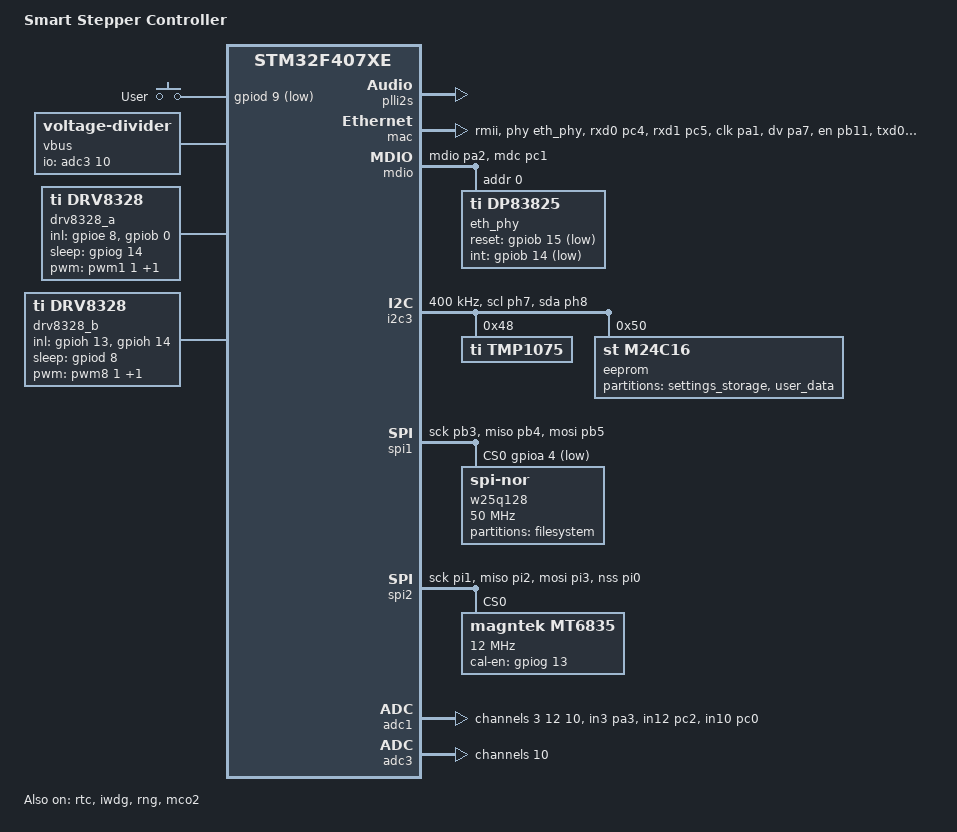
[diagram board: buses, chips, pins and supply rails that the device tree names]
/*
 * Copyright (c) 2025 Rubus Technologies Inc.
 * SPDX-License-Identifier: Apache-2.0
 */

/dts-v1/;
#include <st/f4/stm32f407Xe.dtsi>
#include <st/f4/stm32f407i(e-g)tx-pinctrl.dtsi>
#include <zephyr/dt-bindings/input/input-event-codes.h>
#include <zephyr/dt-bindings/timer/stm32-timer.h>
#include <zephyr/dt-bindings/pwm/pwm.h>
#include <dt-bindings/pwm/stm32-mcpwm.h>

/ {
	model = "Smart Stepper Controller";
	compatible = "rubus,smartstepper";

	chosen {
		zephyr,sram = &sram0;
		zephyr,flash = &flash0;
		zephyr,ccm = &ccm0;
		// zephyr,dtcm = &ccm0;
		zephyr,canbus = &can1;
		zephyr,code-partition = &slot0_partition;
		zephyr,settings-partition = &settings_partition;
	};

	gpio_keys {
		compatible = "gpio-keys";
		user_button: button {
			label = "User";
			gpios = <&gpiod 9 (GPIO_ACTIVE_LOW | GPIO_PULL_UP)>;
			zephyr,code = <INPUT_KEY_0>;
		};
	};

	aliases {
		watchdog0 = &iwdg;
		sw0 = &user_button;
		encoder0 = &mt6835;
		die-temp0 = &die_temp;
		volt-sensor0 = &vref;
		gate-driver-a = &drv8328_a;
		gate-driver-b = &drv8328_b;		
	};

	vbus {
		compatible = "voltage-divider";
		io-channels = <&adc3 10>;
		output-ohms = <10000>;
		full-ohms = <(191000 + 10000)>;
	};

	drv8328_a: drv8328_a {
		compatible = "ti,drv8328";
		status = "okay";
		
		mode = "3x";
		
		pwms = <&pwm1 1 (PWM_POLARITY_NORMAL | STM32_PWM_OC_MODE_PWM1)>,
		       <&pwm1 2 (PWM_POLARITY_NORMAL | STM32_PWM_OC_MODE_PWM1)>;
		
		inl-gpios = <&gpioe 8 GPIO_ACTIVE_HIGH>,
		            <&gpiob 0 GPIO_ACTIVE_HIGH>;
		
		sleep-gpios = <&gpiog 14 GPIO_ACTIVE_HIGH>;
	};
	
	drv8328_b: drv8328_b {
		compatible = "ti,drv8328";
		status = "okay";
		
		mode = "3x";
		
		pwms = <&pwm8 1 (PWM_POLARITY_NORMAL | STM32_PWM_OC_MODE_PWM1)>,
		       <&pwm8 2 (PWM_POLARITY_NORMAL | STM32_PWM_OC_MODE_PWM1)>;
		
		inl-gpios = <&gpioh 13 GPIO_ACTIVE_HIGH>,
		            <&gpioh 14 GPIO_ACTIVE_HIGH>;
		
		sleep-gpios = <&gpiod 8 GPIO_ACTIVE_HIGH>;
	};
};

&clk_lsi {
	status = "okay";
};

&clk_hsi {
	status = "okay";
};

&clk_hse {
	clock-frequency = <DT_FREQ_M(25)>;
	hse-bypass;
	status = "disabled";
};

// &pll {
// 	div-m = <25>;
// 	mul-n = <336>;
// 	div-p = <2>;
// 	div-q = <7>;
// 	clocks = <&clk_hse>;
// 	status = "okay";
// };

&pll {
	div-m = <16>;
	mul-n = <336>;
	div-p = <2>;
	div-q = <7>;
	clocks = <&clk_hsi>;
	status = "okay";
};

&plli2s {
	mul-n = <100>;
	div-r = <2>;
	status = "okay";
};

&rcc {
	clocks = <&pll>;
	clock-frequency = <DT_FREQ_M(168)>;
	ahb-prescaler = <1>;
	apb1-prescaler = <4>;
	apb2-prescaler = <2>;
};

&rtc {
	clocks = <&rcc STM32_CLOCK(APB1, 28)>,
		 <&rcc STM32_SRC_LSI RTC_SEL(2)>;
	status = "okay";
};

&iwdg {
	status = "okay";
};

&rng {
	status = "okay";
};

/* See reference manual (RM0385):
 *   0b10: HSE oscillator clock selected
 */
 #define MCO2_SEL_HSE 2

&mco2 {
	clocks = <&rcc STM32_SRC_HSE MCO2_SEL(MCO2_SEL_HSE)>;
	prescaler = <MCO2_PRE(MCO_PRE_DIV_1)>;
	pinctrl-0 = <&rcc_mco_2_pc9>;
	pinctrl-names = "default";
	status = "okay";
};

&dma1 {
	status = "okay";
};

&dma2 {
	status = "okay";
};

&mac {
	status = "okay";
	pinctrl-0 = <&eth_rxd0_pc4
		     &eth_rxd1_pc5
		     &eth_ref_clk_pa1
		     &eth_crs_dv_pa7
		     &eth_tx_en_pb11
		     &eth_txd0_pb12
		     &eth_txd1_pb13>;
	pinctrl-names = "default";
	phy-connection-type = "rmii";
	phy-handle = <&eth_phy>;
};

&mdio {
	status = "okay";
	pinctrl-0 = <&eth_mdio_pa2 &eth_mdc_pc1>;
	pinctrl-names = "default";

	eth_phy: ethernet-phy@0 {
		status = "okay";
		compatible = "ti,dp83825";
		reg = <0>;
		reset-gpios = <&gpiob 15 GPIO_ACTIVE_LOW>;
		int-gpios = <&gpiob 14 GPIO_ACTIVE_LOW>;
		ti,interface-type = "rmii-25MHz";
	};
};

&i2c1 {
	pinctrl-0 = <&i2c1_scl_pb8 &i2c1_sda_pb9>;
	pinctrl-names = "default";
	clock-frequency = <I2C_BITRATE_FAST>;
	status = "disabled";
};

&i2c3 {
	pinctrl-0 = <&i2c3_scl_ph7 &i2c3_sda_ph8>;
	pinctrl-names = "default";
	status = "okay";
	clock-frequency = <I2C_BITRATE_FAST>;

	tmp1075: tmp1075@48 {
		compatible = "ti,tmp1075";
		reg = <0x48>;
		conversion-rate = <220000>;
		consecutive-fault-measurements = <4>;
		status = "okay";
	};

	eeprom: eeprom@50 {
		compatible = "st,m24c16", "st,m24xxx", "atmel,at24";
		reg = <0x50>;
		size = <DT_SIZE_K(2)>;
		pagesize = <16>;
		address-width = <8>;
		timeout = <5>;
		status = "okay";

		partitions {
			compatible = "fixed-partitions";
			#address-cells = <1>;
			#size-cells = <1>;

			/* Reserve 1KB for motor parameter settings */
			settings_partition: partition@0 {
				label = "settings_storage";
				reg = <0x0000 0x0400>;  /* 1KB at start of EEPROM */
			};

			/* Remaining 1KB available for calibration data, logs, etc. */
			user_data: partition@400 {
				label = "user_data";
				reg = <0x0400 0x0400>;  /* 1KB remaining */
			};
		};
	};

};

&usart1 {
	pinctrl-0 = <&usart1_tx_pb6 &usart1_rx_pb7>;
	pinctrl-names = "default";
	current-speed = <115200>;
	status = "disabled";
};

&spi1 {
	pinctrl-0 = <&spi1_sck_pb3 &spi1_miso_pb4 &spi1_mosi_pb5>;
	pinctrl-names = "default";
	cs-gpios = <&gpioa 4 (GPIO_ACTIVE_LOW | GPIO_PULL_UP)>;
	status = "okay";

	dmas = <&dma2 3 5 (STM32_DMA_PERIPH_TX | STM32_DMA_MEM_8BITS)>,
		<&dma2 3 0 (STM32_DMA_PERIPH_RX | STM32_DMA_MEM_8BITS)>;

	dma-names = "tx", "rx";

	w25q128: w25q128@0 {
		compatible ="jedec,spi-nor";
		size = <DT_SIZE_M(128)>;
		reg = <0>;
		spi-max-frequency = <DT_FREQ_M(50)>;
		status = "okay";
		jedec-id = [ef 40 18];

		partitions {
			compatible = "fixed-partitions";
			#address-cells = < 1 >;
			#size-cells = < 1 >;

			filesystem: partition@0 {
				label = "filesystem";
				reg=< 0x0 DT_SIZE_M(16) >;
			};
		};
	};
};

&spi2 {
	pinctrl-0 = <&spi2_sck_pi1 &spi2_miso_pi2 &spi2_mosi_pi3 &spi2_nss_pi0>;
	pinctrl-names = "default";
	// cs-gpios = <&gpioi 0 (GPIO_ACTIVE_LOW | GPIO_PULL_UP)>;
	status = "okay";

	mt6835: mt6835@0 {
		compatible = "magntek,mt6835";
		reg = <0>;
		spi-max-frequency = <DT_FREQ_M(12)>;
		cal-en-gpios = <&gpiog 13 GPIO_ACTIVE_HIGH>;
		status = "okay";
	};
};

&spi3 {
	pinctrl-0 = <&spi3_sck_pc10 &spi3_miso_pc11 &spi3_mosi_pc12 &spi3_nss_pa15>;
	pinctrl-names = "default";
	// cs-gpios = <&gpioa 15 (GPIO_ACTIVE_LOW | GPIO_PULL_UP)>;
	status = "disabled";
};

&can1 {
	pinctrl-0 = <&can1_rx_pb8 &can1_tx_pb9>;
	pinctrl-names = "default";
	status = "disabled";
};

zephyr_udc0: &usbotg_fs {
	pinctrl-0 = <&usb_otg_fs_dm_pa11 &usb_otg_fs_dp_pa12>;
	pinctrl-names = "default";
	status = "disabled";
};

&flash0 {
	partitions {
		compatible = "fixed-partitions";
		#address-cells = <1>;
		#size-cells = <1>;

		boot_partition: partition@0 {
			label = "mcuboot";
			reg = <0x00000000 DT_SIZE_K(34)>;
			read-only;
		};

		slot0_partition: partition@8800 {
			label = "image-0";
			reg = <0x00008800 DT_SIZE_K(240)>;
		};

		slot1_partition: partition@44800 {
			label = "image-1";
			reg = <0x00044800 DT_SIZE_K(238)>;
		};
	};
};

&timers1 {
	compatible = "rubus,stm32-timers";

	pwm1:mcpwm {
		compatible = "st,stm32-mcpwm";
		// pinctrl-0 = <&tim1_ch1_pa8 &tim1_ch1n_pe8 &tim1_ch2_pa9 &tim1_ch2n_pb0 &tim1_bkin_pe15>;
		pinctrl-0 = <&tim1_ch1_pa8 &tim1_ch2_pa9 &tim1_bkin_pe15>;
		pinctrl-names = "default";
		st,break-enable;
		st,break-polarity = "low";
		st,dead-time = <0>;
		status = "disabled";
		#pwm-cells = <2>;
	};
};

&timers8 {
	compatible = "rubus,stm32-timers";

	pwm8:mcpwm {
		compatible = "st,stm32-mcpwm";
		// pinctrl-0 = <&tim8_ch1_pc6 &tim8_ch1n_ph13 &tim8_ch2_pc7 &tim8_ch2n_ph14 &tim8_bkin_pi4>;
		pinctrl-0 = <&tim8_ch1_pc6 &tim8_ch2_pc7 &tim8_bkin_pi4>;
		pinctrl-names = "default";
		st,break-enable;
		st,break-polarity = "low";
		st,dead-time = <0>;
		status = "disabled";
		#pwm-cells = <2>;
	};
};

// &timers4 {
// 	status = "okay";

// 	pwm4: pwm {
// 		status = "disabled";
// 		pinctrl-0 = <&tim4_ch1_pd12 &tim4_ch2_pd13 &tim4_ch3_pd14 &tim4_ch4_pd15>;
// 		pinctrl-names = "default";
// 	};
// };

/* Enable pull-ups on BKIN pins */
&pinctrl {
    /omit-if-no-ref/ tim1_bkin_pe15: tim1_bkin_pe15 {
        bias-pull-up;
    };
	/omit-if-no-ref/ tim8_bkin_pi4: tim8_bkin_pi4 {
		bias-pull-up;
	};
};

&adc1 {
	pinctrl-0 = <&adc1_in3_pa3 &adc1_in12_pc2 &adc1_in10_pc0>;
	pinctrl-names = "default";
	st,adc-clock-source = "SYNC";
	st,adc-prescaler = <2>;
	status = "okay";

	vref-mv = <3000>;

	#address-cells = <1>;
	#size-cells = <0>;

	/* I_SENSE_A */
	channel@3 {
		reg = <3>;
		zephyr,gain = "ADC_GAIN_1";
		zephyr,reference = "ADC_REF_INTERNAL";
		zephyr,acquisition-time = <ADC_ACQ_TIME_DEFAULT>;
		zephyr,resolution = <12>;
	};

	/* I_SENSE_B */
	channel@c {
		reg = <12>;
		zephyr,gain = "ADC_GAIN_1";
		zephyr,reference = "ADC_REF_INTERNAL";
		zephyr,acquisition-time = <ADC_ACQ_TIME_DEFAULT>;
		zephyr,resolution = <12>;
	};

	/* VINSENSE */
	channel@a {
		reg = <10>;
		zephyr,gain = "ADC_GAIN_1";
		zephyr,reference = "ADC_REF_INTERNAL";
		zephyr,acquisition-time = <ADC_ACQ_TIME_DEFAULT>;
		zephyr,resolution = <12>;
	};
};

&adc3 {
	compatible = "st,stm32f4-adc", "st,stm32-adc";
	st,adc-clock-source = "SYNC";
	st,adc-prescaler = <2>;
	status = "okay";

	vref-mv = <3000>;

	#address-cells = <1>;
	#size-cells = <0>;

	channel@a {
		reg = <10>;
		zephyr,gain = "ADC_GAIN_1";
		zephyr,reference = "ADC_REF_INTERNAL";
		zephyr,acquisition-time = <ADC_ACQ_TIME_DEFAULT>;
		zephyr,resolution = <12>;
	};	
};
